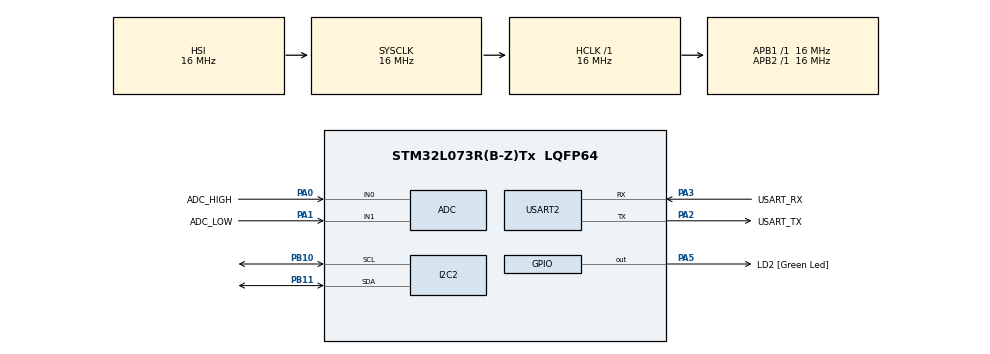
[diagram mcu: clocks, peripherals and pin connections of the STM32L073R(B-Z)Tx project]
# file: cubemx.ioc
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ADC.DMAContinuousRequests=ENABLE
ADC.EOCSelection=ADC_EOC_SEQ_CONV
ADC.ExternalTrigConv=ADC_EXTERNALTRIGCONV_T6_TRGO
ADC.SamplingTime=ADC_SAMPLETIME_79CYCLES_5
Dma.ADC.0.Direction=DMA_PERIPH_TO_MEMORY
Dma.ADC.0.Instance=DMA1_Channel1
Dma.ADC.0.MemDataAlignment=DMA_MDATAALIGN_HALFWORD
Dma.ADC.0.MemInc=DMA_MINC_ENABLE
Dma.ADC.0.Mode=DMA_CIRCULAR
Dma.ADC.0.PeriphDataAlignment=DMA_PDATAALIGN_HALFWORD
Dma.ADC.0.PeriphInc=DMA_PINC_DISABLE
Dma.ADC.0.Priority=DMA_PRIORITY_HIGH
Dma.Request0=ADC
I2C2.Timing=0x00503D58
Mcu.Family=STM32L0
Mcu.Name=STM32L073R(B-Z)Tx
Mcu.Package=LQFP64
NVIC.DMA1_Channel1_IRQn=true\:0\:0\:false\:false\:true\:false\:true\:true
PA0.GPIO_Label=ADC_HIGH
PA0.Mode=IN0
PA0.Signal=ADC_IN0
PA1.GPIO_Label=ADC_LOW
PA1.Mode=IN1
PA1.Signal=ADC_IN1
PA13.GPIO_Label=TMS
PA13.Mode=Serial_Wire
PA13.Signal=SYS_SWDIO
PA14.GPIO_Label=TCK
PA14.Mode=Serial_Wire
PA14.Signal=SYS_SWCLK
PA2.GPIO_Label=USART_TX
PA2.Mode=Asynchronous
PA2.Signal=USART2_TX
PA3.GPIO_Label=USART_RX
PA3.Mode=Asynchronous
PA3.Signal=USART2_RX
PA5.GPIO_Label=LD2 [Green Led]
PA5.Signal=GPIO_Output
PB10.Mode=I2C
PB10.Signal=I2C2_SCL
PB11.Mode=I2C
PB11.Signal=I2C2_SDA
PC14-OSC32_IN.Mode=LSE-External-Oscillator
PC14-OSC32_IN.Signal=RCC_OSC32_IN
PC15-OSC32_OUT.Mode=LSE-External-Oscillator
PC15-OSC32_OUT.Signal=RCC_OSC32_OUT
PH0-OSC_IN.GPIO_Label=MCO
PH0-OSC_IN.Mode=HSE-External-Clock-Source
PH0-OSC_IN.Signal=RCC_OSC_IN
ProjectManager.HeapSize=0x400
ProjectManager.StackSize=0x800
ProjectManager.TargetToolchain=MDK-ARM V5.32
RCC.AHBFreq_Value=16000000
RCC.APB1Freq_Value=16000000
RCC.APB1TimFreq_Value=16000000
RCC.APB2Freq_Value=16000000
RCC.APB2TimFreq_Value=16000000
RCC.HCLKFreq_Value=16000000
RCC.HSE_VALUE=8000000
RCC.HSI16_VALUE=16000000
RCC.HSI48_VALUE=48000000
RCC.HSI_VALUE=16000000
RCC.MSI_VALUE=2097000
RCC.SYSCLKFreq_VALUE=16000000
RCC.SYSCLKSource=RCC_SYSCLKSOURCE_HSI
RCC.VCOOutputFreq_Value=48000000
TIM6.Period=49
TIM6.Prescaler=15
TIM6.TIM_MasterOutputTrigger=TIM_TRGO_UPDATE
USART2.VirtualMode-Asynchronous=VM_ASYNC
VP_TIM6_VS_ClockSourceINT.Mode=Enable_Timer
board=NUCLEO-L073RZ

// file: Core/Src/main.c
/* USER CODE BEGIN Header */
/**
  ******************************************************************************
  * @file           : main.c
  * @brief          : Main program body
  ******************************************************************************
  * @attention
  *
  * Copyright (c) 2026 STMicroelectronics.
  * All rights reserved.
  *
  * This software is licensed under terms that can be found in the LICENSE file
  * in the root directory of this software component.
  * If no LICENSE file comes with this software, it is provided AS-IS.
  *
  ******************************************************************************
  */
/* USER CODE END Header */
#include "main.h"
#include "adc.h"
#include "dma.h"
#include "i2c.h"
#include "tim.h"
#include "usart.h"
#include "gpio.h"

/* USER CODE BEGIN Includes */
#include <stdio.h>
#include <string.h>
#include <stdint.h>
#include "ssd1306.h"
/* USER CODE END Includes */

/* USER CODE BEGIN PV */
#define ADC_MAX        4095.0f
#define ADC_VREF       3.3f

#define R_SHUNT        10.0f

#define GAIN_HIGH      1.47f
#define GAIN_LOW       21.0f

#define SAMPLE_COUNT   200
#define NO_CURRENT_RMS_MA   0.05f
#define NO_CURRENT_AMP_MA   0.08f
uint16_t high_samples[SAMPLE_COUNT];
uint16_t low_samples[SAMPLE_COUNT];

char tx_buffer[128];

float irms_mA = 0.0f;
float iamp_mA = 0.0f;

uint8_t using_low_range = 1;

uint32_t last_oled_update = 0;
/* USER CODE END PV */

void SystemClock_Config(void);
/* USER CODE BEGIN PFP */
void Format_mA(char *text, float value);
void Send_Result_UART(void);
void Send_Result_OLED(void);

/* USER CODE END PFP */

/* USER CODE BEGIN 0 */
uint16_t Read_ADC_Channel(uint32_t channel)
{
    ADC_ChannelConfTypeDef sConfig = {0};

    HAL_ADC_Stop(&hadc);

    /* Disable both channels first */
    sConfig.Rank = ADC_RANK_NONE;

    sConfig.Channel = ADC_CHANNEL_0;
    HAL_ADC_ConfigChannel(&hadc, &sConfig);

    sConfig.Channel = ADC_CHANNEL_1;
    HAL_ADC_ConfigChannel(&hadc, &sConfig);

    /* Enable only selected channel */
    sConfig.Channel = channel;
    sConfig.Rank = ADC_RANK_CHANNEL_NUMBER;

    if (HAL_ADC_ConfigChannel(&hadc, &sConfig) != HAL_OK)
    {
        return 0;
    }

    if (HAL_ADC_Start(&hadc) != HAL_OK)
    {
        return 0;
    }

    if (HAL_ADC_PollForConversion(&hadc, 100) != HAL_OK)
    {
        HAL_ADC_Stop(&hadc);
        return 0;
    }

    uint16_t value = HAL_ADC_GetValue(&hadc);

    HAL_ADC_Stop(&hadc);

    return value;
}

float my_abs(float x)
{
    if (x < 0.0f)
    {
        return -x;
    }

    return x;
}

float my_sqrt(float x)
{
    if (x <= 0.0f)
    {
        return 0.0f;
    }

    float guess = x;

    for (int i = 0; i < 12; i++)
    {
        guess = 0.5f * (guess + x / guess);
    }

    return guess;
}

void Calculate_Current(void)
{
    uint32_t sum_high = 0;
    uint32_t sum_low = 0;

    uint16_t high_min = 4095;
    uint16_t high_max = 0;

    uint16_t low_min = 4095;
    uint16_t low_max = 0;

    for (int i = 0; i < SAMPLE_COUNT; i++)
    {
        high_samples[i] = Read_ADC_Channel(ADC_CHANNEL_0); // PA0
        low_samples[i]  = Read_ADC_Channel(ADC_CHANNEL_1); // PA1

        sum_high += high_samples[i];
        sum_low  += low_samples[i];

        if (high_samples[i] < high_min) high_min = high_samples[i];
        if (high_samples[i] > high_max) high_max = high_samples[i];

        if (low_samples[i] < low_min) low_min = low_samples[i];
        if (low_samples[i] > low_max) low_max = low_samples[i];
    }

    float offset_high = (float)sum_high / (float)SAMPLE_COUNT;
    float offset_low  = (float)sum_low  / (float)SAMPLE_COUNT;

    float gain;
    float offset;
    uint16_t *selected_samples;

    /*
       LOW range has higher gain, so use it unless it is near clipping.
       If LOW range gets too close to 0 or 4095, switch to HIGH range.
    */
    if (low_min > 200 && low_max < 3895)
    {
        using_low_range = 1;
        gain = GAIN_LOW;
        offset = offset_low;
        selected_samples = low_samples;
    }
    else
    {
        using_low_range = 0;
        gain = GAIN_HIGH;
        offset = offset_high;
        selected_samples = high_samples;
    }

    float sum_square = 0.0f;
    float peak_counts = 0.0f;

    for (int i = 0; i < SAMPLE_COUNT; i++)
    {
        float ac_counts = (float)selected_samples[i] - offset;

        if (my_abs(ac_counts) > peak_counts)
        {
            peak_counts = my_abs(ac_counts);
        }

        float ac_voltage = (ac_counts * ADC_VREF) / ADC_MAX;
        float current_A = ac_voltage / (gain * R_SHUNT);

        sum_square += current_A * current_A;
    }

    float rms_A = my_sqrt(sum_square / (float)SAMPLE_COUNT);

    float amp_voltage = (peak_counts * ADC_VREF) / ADC_MAX;
    float amp_A = amp_voltage / (gain * R_SHUNT);

    irms_mA = rms_A * 1000.0f;
    iamp_mA = amp_A * 1000.0f;

    /* Remove tiny noise near zero */
    if (irms_mA < NO_CURRENT_RMS_MA)
    {
        irms_mA = 0.0f;
    }

    if (iamp_mA < NO_CURRENT_AMP_MA)
    {
        iamp_mA = 0.0f;
    }
}

void Format_mA(char *text, float value)
{
    int value_x100 = (int)(value * 100.0f + 0.5f);

    if (value_x100 < 0)
    {
        value_x100 = 0;
    }

    sprintf(text, "%d.%02d", value_x100 / 100, value_x100 % 100);
}

void Send_Result_UART(void)
{
    char irms_text[16];
    char iamp_text[16];

    Format_mA(irms_text, irms_mA);
    Format_mA(iamp_text, iamp_mA);

    sprintf(tx_buffer,
            "RANGE=%s  IRMS=%s mA  IAMP=%s mA\r\n",
            using_low_range ? "LOW" : "HIGH",
            irms_text,
            iamp_text);

    HAL_UART_Transmit(&huart2,
                      (uint8_t*)tx_buffer,
                      strlen(tx_buffer),
                      100);
}

void Send_Result_OLED(void)
{
    char value_text[16];

    OLED_Clear();

    OLED_SetCursor(0, 0);
    OLED_WriteString("RANGE=");
    OLED_WriteString(using_low_range ? "LOW" : "HIGH");

    OLED_SetCursor(0, 1);
    OLED_WriteString("IRMS=");
    Format_mA(value_text, irms_mA);
    OLED_WriteString(value_text);
    OLED_WriteString("mA");

    OLED_SetCursor(0, 2);
    OLED_WriteString("IAMP=");
    Format_mA(value_text, iamp_mA);
    OLED_WriteString(value_text);
    OLED_WriteString("mA");

    OLED_SetCursor(0, 3);
    OLED_WriteString("AC CURRENT");

    OLED_Update();
}
/* USER CODE END 0 */

int main(void)
{

  /* MCU Configuration--------------------------------------------------------*/

  /* Reset of all peripherals, Initializes the Flash interface and the Systick. */
  HAL_Init();

  /* Configure the system clock */
  SystemClock_Config();

  /* Initialize all configured peripherals */
  MX_GPIO_Init();
  MX_DMA_Init();
  MX_ADC_Init();
  MX_I2C2_Init();
  MX_USART2_UART_Init();
  MX_TIM6_Init();
  /* USER CODE BEGIN 2 */
OLED_Init(&hi2c2);

OLED_Clear();
OLED_SetCursor(0, 0);
OLED_WriteString("SROVES NERA");
OLED_SetCursor(0, 2);
OLED_WriteString("PRIJUNKITE");
OLED_Update();

last_oled_update = HAL_GetTick();
  /* USER CODE END 2 */

  /* Infinite loop */
  /* USER CODE BEGIN WHILE */
  while (1)
  {
	    Calculate_Current();

	    Send_Result_UART();

	    if ((HAL_GetTick() - last_oled_update) >= 1000)
	    {
	        last_oled_update = HAL_GetTick();
	        Send_Result_OLED();
	    }

	    HAL_GPIO_TogglePin(LD2_GPIO_Port, LD2_Pin);

	    HAL_Delay(200);

	/*	    irms_mA = 1.23f;
    iamp_mA = 1.74f;
    using_low_range = 1;

    Send_Result_OLED();

    HAL_Delay(1000); */
    /* USER CODE END WHILE */

  }
}

void SystemClock_Config(void)
{
  RCC_OscInitTypeDef RCC_OscInitStruct = {0};
  RCC_ClkInitTypeDef RCC_ClkInitStruct = {0};
  RCC_PeriphCLKInitTypeDef PeriphClkInit = {0};

  /** Configure the main internal regulator output voltage
  */
  __HAL_PWR_VOLTAGESCALING_CONFIG(PWR_REGULATOR_VOLTAGE_SCALE1);

  /** Initializes the RCC Oscillators according to the specified parameters
  * in the RCC_OscInitTypeDef structure.
  */
  RCC_OscInitStruct.OscillatorType = RCC_OSCILLATORTYPE_HSI;
  RCC_OscInitStruct.HSIState = RCC_HSI_ON;
  RCC_OscInitStruct.HSICalibrationValue = RCC_HSICALIBRATION_DEFAULT;
  RCC_OscInitStruct.PLL.PLLState = RCC_PLL_NONE;
  if (HAL_RCC_OscConfig(&RCC_OscInitStruct) != HAL_OK)
  {
    Error_Handler();
  }

  /** Initializes the CPU, AHB and APB buses clocks
  */
  RCC_ClkInitStruct.ClockType = RCC_CLOCKTYPE_HCLK|RCC_CLOCKTYPE_SYSCLK
                              |RCC_CLOCKTYPE_PCLK1|RCC_CLOCKTYPE_PCLK2;
  RCC_ClkInitStruct.SYSCLKSource = RCC_SYSCLKSOURCE_HSI;
  RCC_ClkInitStruct.AHBCLKDivider = RCC_SYSCLK_DIV1;
  RCC_ClkInitStruct.APB1CLKDivider = RCC_HCLK_DIV1;
  RCC_ClkInitStruct.APB2CLKDivider = RCC_HCLK_DIV1;

  if (HAL_RCC_ClockConfig(&RCC_ClkInitStruct, FLASH_LATENCY_0) != HAL_OK)
  {
    Error_Handler();
  }
  PeriphClkInit.PeriphClockSelection = RCC_PERIPHCLK_USART2;
  PeriphClkInit.Usart2ClockSelection = RCC_USART2CLKSOURCE_PCLK1;
  if (HAL_RCCEx_PeriphCLKConfig(&PeriphClkInit) != HAL_OK)
  {
    Error_Handler();
  }
}

void Error_Handler(void)
{
  __disable_irq();
  while (1)
  {
  }
}
